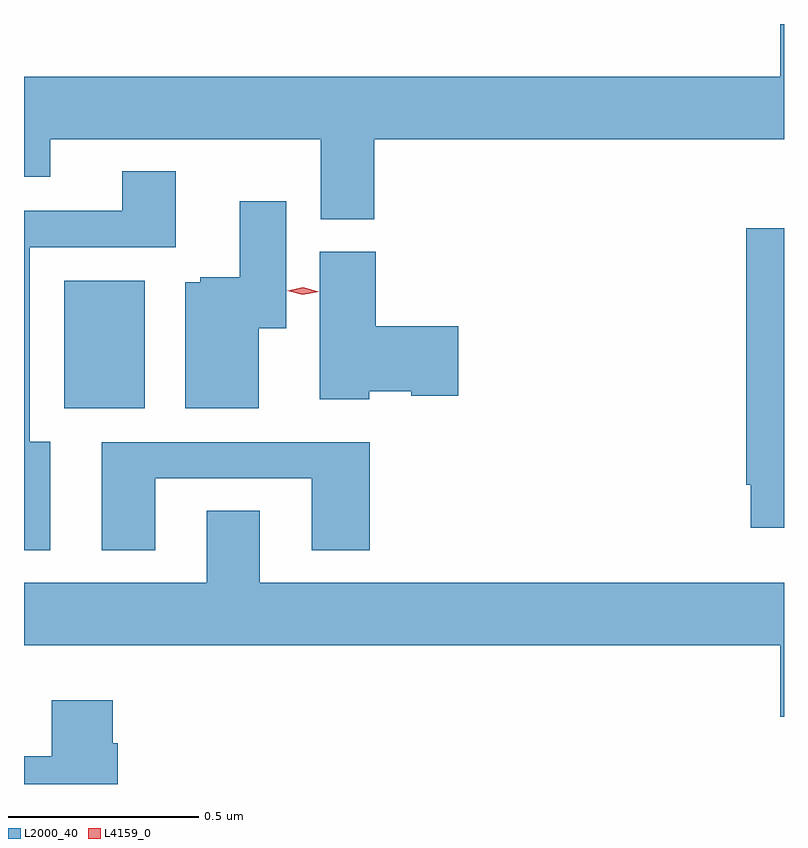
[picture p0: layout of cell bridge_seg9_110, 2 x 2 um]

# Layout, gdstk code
import gdstk
lib = gdstk.Library(unit=1e-6, precision=1e-09)
def R(c, l, rs):  # rectangles x0, y0, x1, y1
    for r in rs: c.add(gdstk.rectangle(r[:2], r[2:], *l))
def P(c, l, *ps):  # polygons
    for p in ps: c.add(gdstk.Polygon(p, *l))
L2000_40 = (2000, 40)
L4159_0 = (4159, 0)

bridge_seg9_110 = lib.new_cell('bridge_seg9_110')
R(bridge_seg9_110, L2000_40, [(810.476,1179.728,810.688,1180.063)])
P(bridge_seg9_110, L2000_40, [(811.292,1180.436),(812.37,1180.436),(812.37,1180.739),(812.36,1180.739),(812.36,1180.6),(810.37,1180.6),(810.37,1180.337),(810.439,1180.337),(810.439,1180.436),(811.151,1180.436),(811.151,1180.225),(811.292,1180.225)],
  [(810.439,1179.64),(810.385,1179.64),(810.385,1180.152),(810.769,1180.152),(810.769,1180.351),(810.629,1180.351),(810.629,1180.248),(810.37,1180.248),(810.37,1179.354),(810.439,1179.354)],
  [(810.988,1179.938),(811.06,1179.938),(811.06,1180.273),(810.938,1180.273),(810.938,1180.072),(810.834,1180.072),(810.834,1180.06),(810.794,1180.06),(810.794,1179.728),(810.988,1179.728)],
  [(812.37,1180.201),(812.27,1180.201),(812.27,1179.526),(812.282,1179.526),(812.282,1179.414),(812.37,1179.414)],
  [(811.278,1179.773),(811.389,1179.773),(811.389,1179.761),(811.513,1179.761),(811.513,1179.944),(811.295,1179.944),(811.295,1180.14),(811.148,1180.14),(811.148,1179.752),(811.278,1179.752)],
  [(810.715,1179.543),(811.127,1179.543),(811.127,1179.354),(811.28,1179.354),(811.28,1179.639),(810.575,1179.639),(810.575,1179.354),(810.715,1179.354)],
  [(812.36,1178.916),(812.37,1178.916),(812.37,1179.268),(810.991,1179.268),(810.991,1179.458),(810.851,1179.458),(810.851,1179.268),(810.37,1179.268),(810.37,1179.104),(812.36,1179.104)],
  [(810.617,1178.846),(810.604,1178.846),(810.604,1178.959),(810.443,1178.959),(810.443,1178.812),(810.37,1178.812),(810.37,1178.739),(810.617,1178.739)])
P(bridge_seg9_110, L4159_0, [(811.104,1180.026),(811.063,1180.037),(811.063,1180.037),(811.063,1180.037),(811.105,1180.046),(811.145,1180.034),(811.146,1180.034),(811.145,1180.034)])

lib.write_gds('bridge_seg9_110.gds')
